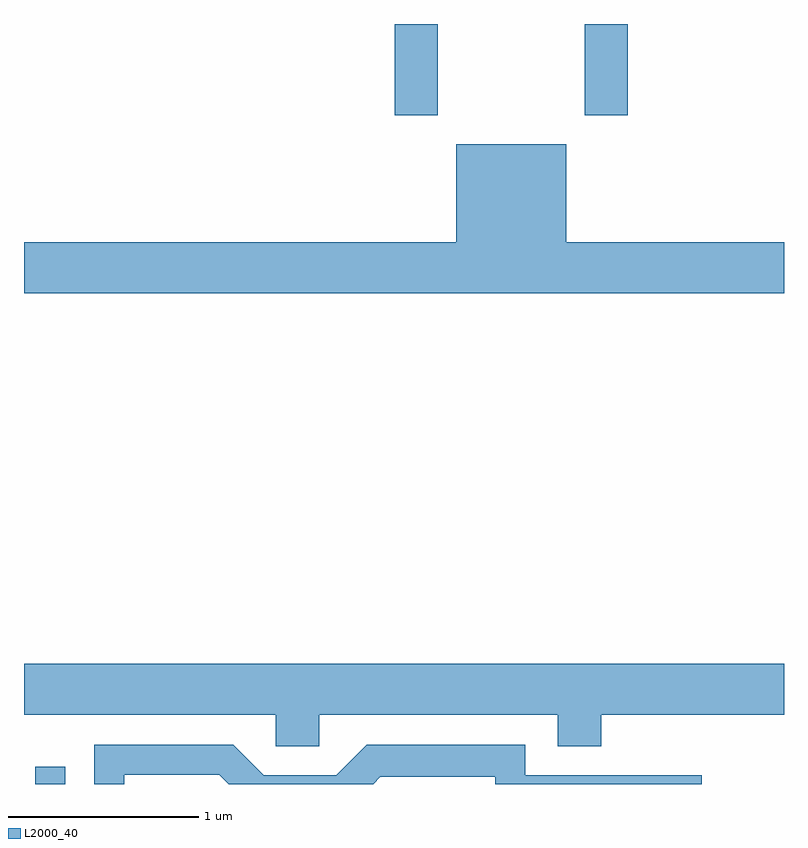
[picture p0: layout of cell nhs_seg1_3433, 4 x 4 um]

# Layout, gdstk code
import gdstk
lib = gdstk.Library(unit=1e-6, precision=1e-09)
def R(c, l, rs):  # rectangles x0, y0, x1, y1
    for r in rs: c.add(gdstk.rectangle(r[:2], r[2:], *l))
def P(c, l, *ps):  # polygons
    for p in ps: c.add(gdstk.Polygon(p, *l))
L2000_40 = (2000, 40)

nhs_seg1_3433 = lib.new_cell('nhs_seg1_3433')
R(nhs_seg1_3433, L2000_40, [(289.671,843.712,289.829,843.803), (291.561,847.231,291.789,847.712), (292.561,847.231,292.789,847.712)])
P(nhs_seg1_3433, L2000_40, [(293.611,846.564),(292.464,846.564),(292.464,847.079),(291.886,847.079),(291.886,846.564),(289.611,846.564),(289.611,846.296),(293.611,846.296)],
  [(291.164,844.076),(292.421,844.076),(292.421,843.911),(292.649,843.911),(292.649,844.076),(293.611,844.076),(293.611,844.344),(289.611,844.344),(289.611,844.076),(290.936,844.076),(290.936,843.911),(291.164,843.911)],
  [(290.139,843.761),(290.639,843.761),(290.688,843.712),(291.448,843.712),(291.487,843.751),(292.091,843.751),(292.091,843.712),(293.178,843.712),(293.178,843.759),(292.249,843.759),(292.249,843.919),(291.414,843.919),(291.254,843.759),(290.872,843.759),(290.712,843.919),(289.981,843.919),(289.981,843.712),(290.139,843.712)])

lib.write_gds('nhs_seg1_3433.gds')
